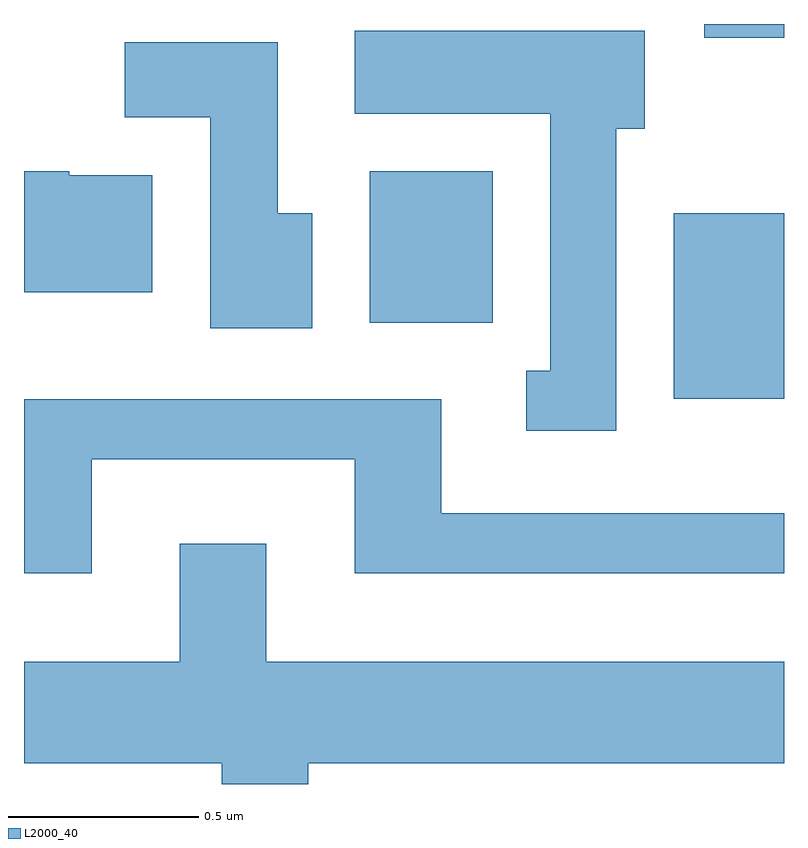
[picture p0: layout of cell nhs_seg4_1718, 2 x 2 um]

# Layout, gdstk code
import gdstk
lib = gdstk.Library(unit=1e-6, precision=1e-09)
def R(c, l, rs):  # rectangles x0, y0, x1, y1
    for r in rs: c.add(gdstk.rectangle(r[:2], r[2:], *l))
def P(c, l, *ps):  # polygons
    for p in ps: c.add(gdstk.Polygon(p, *l))
L2000_40 = (2000, 40)

nhs_seg4_1718 = lib.new_cell('nhs_seg4_1718')
R(nhs_seg4_1718, L2000_40, [(199.321,1328.996,199.611,1329.484), (198.521,1329.196,198.844,1329.594), (199.401,1329.946,199.611,1329.982)])
P(nhs_seg4_1718, L2000_40, [(199.169,1329.706),(199.244,1329.706),(199.244,1329.964),(198.481,1329.964),(198.481,1329.746),(198.996,1329.746),(198.996,1329.069),(198.933,1329.069),(198.933,1328.911),(199.169,1328.911)],
  [(198.369,1329.484),(198.279,1329.484),(198.279,1329.934),(197.876,1329.934),(197.876,1329.736),(198.101,1329.736),(198.101,1329.181),(198.369,1329.181)],
  [(197.949,1329.584),(197.73,1329.584),(197.73,1329.594),(197.611,1329.594),(197.611,1329.276),(197.949,1329.276)],
  [(197.789,1328.836),(198.481,1328.836),(198.481,1328.536),(199.611,1328.536),(199.611,1328.694),(198.709,1328.694),(198.709,1328.994),(197.611,1328.994),(197.611,1328.536),(197.789,1328.536)],
  [(198.359,1328.036),(199.611,1328.036),(199.611,1328.304),(198.249,1328.304),(198.249,1328.614),(198.021,1328.614),(198.021,1328.304),(197.611,1328.304),(197.611,1328.036),(198.131,1328.036),(198.131,1327.982),(198.359,1327.982)])

lib.write_gds('nhs_seg4_1718.gds')
